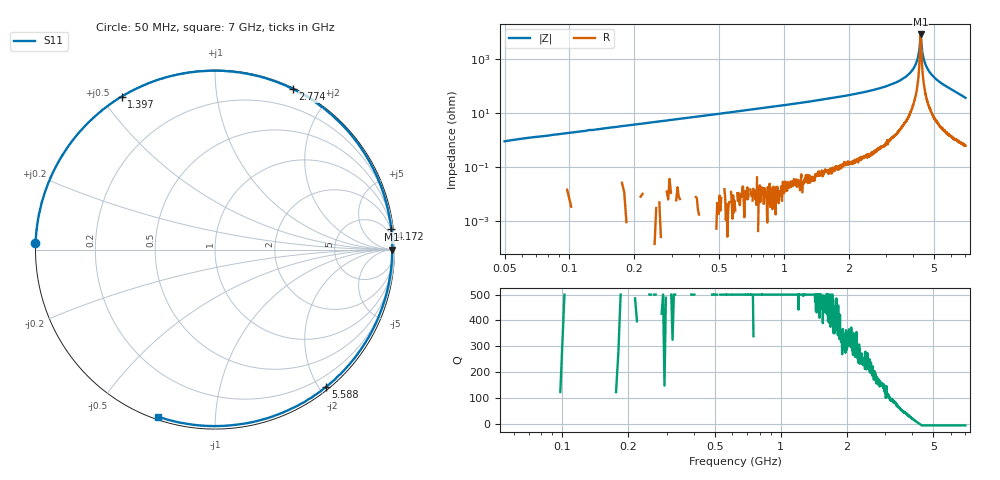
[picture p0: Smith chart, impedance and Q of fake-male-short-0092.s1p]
! This is a Touchstone .s1p format file
! It should be saved with .s1p extension
! HEWLETT PACKARD,8720D,0,7.74
! Date = 21 Mar 2018
! Time = 01:15:33
! S11 measured = FALSE
! S21 measured = FALSE
! S12 measured = FALSE
! S22 measured = TRUE
! Start frequency = 0.050000000 GHz
! Centre frequency  = 3.524999936 GHz
! Stop frequency  = 7.000000000 GHz
! IF bandwidth = 300 Hz
! Smoothing = OFF
! Smoothing aperture = 1.000000 %
! Averaging = OFF
! Averaging factor = 16
! Source power = On
! Source power = Auto mode
! Output power level = 5.000000 dBm
! Retrace power = Off
! Testset switching = Continuous
! Number of sweeps for test set switching (0=hold, 1=continuous,2-999 = number of sweeps) = 1
! Step sweep = On (check)
! List frequency sweep = Off (check)
! IFBW setting for a list-frequency table in swept list mode = Disabled (Check)
! Power setting for a list-frequency table in swept list mode = Disabled (Check)
! Measurement mode = Chop A and B
! Port extensions = OFF
! Port extension 1 = 0.000000 ps
! Port extension 2 = 57.970000 ps
! Points  = 1601
! Calibration kit = 3.5 mm D
! Power = 5.000000 dBm
! Frequency magS22 angS22
! Magnitudes are in log form
! Angles are in degrees
# MHz S DB R 50
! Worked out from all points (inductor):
!   1601 points, 50 MHz to 7 GHz, reference 50 ohm
!   read as one part to ground: L = 2.92 nH near 84.75 MHz
!   highest |Z| = 7.82 kohm at 4.333 GHz (marker M1)
!   self-resonance near 4.333 GHz
!   S11 on the Smith chart (normalised r, x): 50 MHz: -0.00, +0.02; 1.397 GHz: 0.00, +0.56; 2.774 GHz: 0.01, +1.60; 4.172 GHz: 2, +17; 5.588 GHz: 0.04, -2.09; 7 GHz: 0.01, -0.72
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50  0.03 178.0
275.875  0.00 168.4
488.7188  -0.00 159.4
701.5625  -0.00 150.5
918.75  -0.01 141.4
1183.719  -0.01 130.3
1396.562  -0.01 121.4
1787.5  -0.02 105.0
2017.719  -0.03 95.5
2226.219  -0.03 86.7
2465.125  -0.04 76.9
2656.25  -0.04 68.9
2773.531  -0.05 64.1
3129.719  -0.06 49.4
3525  -0.08 33.1
3837.75  -0.09 20.3
4172.219  -0.10 6.6
4332.938  -0.11 0.0
4393.75  -0.11 357.6
4615.281  -0.12 348.5
4832.469  -0.13 339.7
5262.5  -0.13 322.1
5588.281  -0.14 308.9
5866.281  -0.14 297.6
6131.25  -0.14 286.8
6335.406  -0.15 278.4
6561.281  -0.15 269.2
7000  -0.14 251.3
